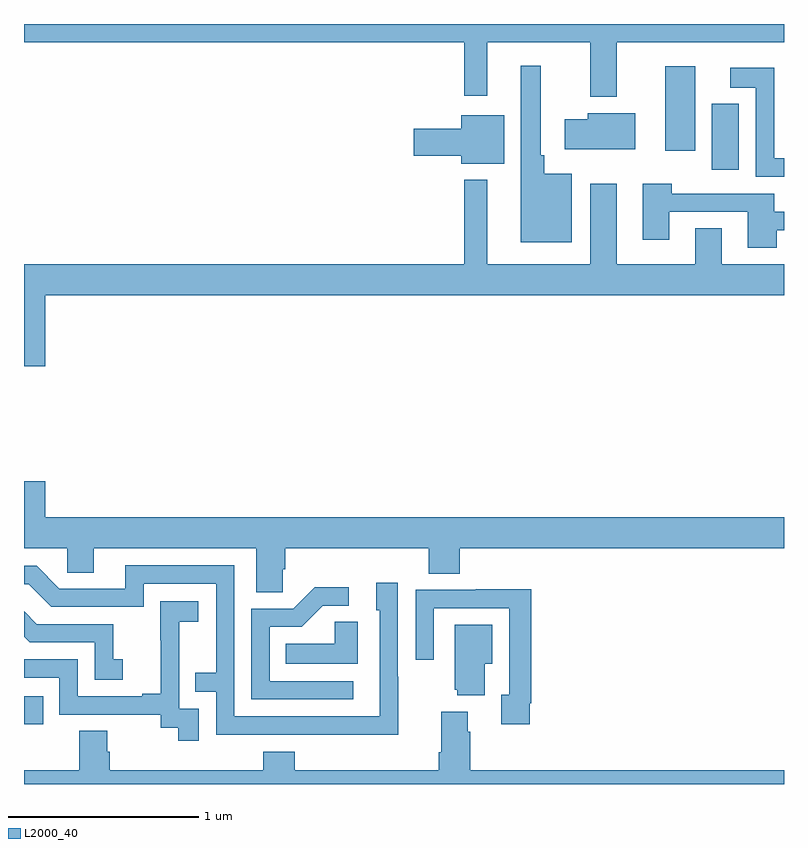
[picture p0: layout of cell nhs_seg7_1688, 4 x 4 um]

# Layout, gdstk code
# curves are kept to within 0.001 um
import gdstk
lib = gdstk.Library(unit=1e-6, precision=1e-09)
def R(c, l, rs):  # rectangles x0, y0, x1, y1
    for r in rs: c.add(gdstk.rectangle(r[:2], r[2:], *l))
def P(c, l, *ps):  # polygons
    for p in ps: c.add(gdstk.Polygon(p, *l))
L2000_40 = (2000, 40)

nhs_seg7_1688 = lib.new_cell('nhs_seg7_1688')
R(nhs_seg7_1688, L2000_40, [(225,1042.314,225.101,1042.461), (228.62,1045.233,228.763,1045.579), (228.374,1045.332,228.532,1045.777)])
P(nhs_seg7_1688, L2000_40, [(228.121,1045.904),(229,1045.904),(229,1046),(225,1046),(225,1045.904),(227.316,1045.904),(227.316,1045.623),(227.437,1045.623),(227.437,1045.904),(227.981,1045.904),(227.981,1045.616),(228.121,1045.616)],
  [(227.884,1045.213),(227.737,1045.213),(227.737,1045.309),(227.719,1045.309),(227.719,1045.78),(227.615,1045.78),(227.615,1044.851),(227.884,1044.851)],
  [(229,1045.293),(228.948,1045.293),(228.948,1045.771),(228.717,1045.771),(228.717,1045.664),(228.852,1045.664),(228.852,1045.197),(229,1045.197)],
  [(228.217,1045.531),(227.966,1045.531),(227.966,1045.498),(227.847,1045.498),(227.847,1045.34),(228.217,1045.34)],
  [(227.527,1045.519),(227.3,1045.519),(227.3,1045.449),(227.052,1045.449),(227.052,1045.307),(227.3,1045.307),(227.3,1045.265),(227.527,1045.265)],
  [(229,1044.736),(228.673,1044.736),(228.673,1044.926),(228.533,1044.926),(228.533,1044.736),(228.121,1044.736),(228.121,1045.159),(227.981,1045.159),(227.981,1044.736),(227.437,1044.736),(227.437,1045.18),(227.316,1045.18),(227.316,1044.736),(225,1044.736),(225,1044.198),(225.112,1044.198),(225.112,1044.572),(229,1044.572)],
  [(228.962,1044.914),(229,1044.914),(229,1045.011),(228.949,1045.011),(228.949,1045.107),(228.41,1045.107),(228.41,1045.159),(228.257,1045.159),(228.257,1044.864),(228.397,1044.864),(228.397,1045.011),(228.809,1045.011),(228.809,1044.822),(228.962,1044.822)],
  [(226.362,1043.131),(226.376,1043.131),(226.376,1043.24),(227.129,1043.24),(227.129,1043.107),(227.294,1043.107),(227.294,1043.24),(229,1043.24),(229,1043.404),(225.112,1043.404),(225.112,1043.593),(225,1043.593),(225,1043.24),(225.228,1043.24),(225.228,1043.113),(225.367,1043.113),(225.367,1043.24),(226.223,1043.24),(226.223,1043.008),(226.362,1043.008)],
  [(226.971,1042.565),(226.968,1042.565),(226.968,1043.059),(226.853,1043.059),(226.853,1042.914),(226.872,1042.914),(226.872,1042.356),(226.107,1042.356),(226.107,1043.151),(225.533,1043.151),(225.533,1043.028),(225.186,1043.028),(225.066,1043.148),(225,1043.148),(225,1043.052),(225.024,1043.052),(225.144,1042.932),(225.63,1042.932),(225.63,1043.055),(226.011,1043.055),(226.011,1042.586),(225.901,1042.586),(225.901,1042.485),(226.011,1042.485),(226.011,1042.26),(226.971,1042.259)],
  [(226.732,1042.542),(226.293,1042.542),(226.293,1042.827),(226.462,1042.827),(226.573,1042.938),(226.708,1042.938),(226.708,1043.036),(226.529,1043.036),(226.416,1042.923),(226.197,1042.923),(226.197,1042.446),(226.732,1042.446)],
  [(227.662,1042.426),(227.669,1042.426),(227.669,1043.024),(227.377,1043.024),(227.377,1043.022),(227.061,1043.022),(227.061,1042.653),(227.157,1042.653),(227.157,1042.926),(227.553,1042.926),(227.553,1042.47),(227.513,1042.47),(227.513,1042.314),(227.662,1042.314)],
  [(225.921,1042.395),(225.816,1042.395),(225.816,1042.625),(225.818,1042.625),(225.818,1042.853),(225.916,1042.853),(225.916,1042.963),(225.718,1042.963),(225.718,1042.757),(225.719,1042.757),(225.719,1042.474),(225.623,1042.474),(225.623,1042.461),(225.282,1042.461),(225.282,1042.656),(225,1042.656),(225,1042.56),(225.186,1042.56),(225.186,1042.365),(225.72,1042.365),(225.72,1042.297),(225.813,1042.297),(225.813,1042.227),(225.921,1042.227)],
  [(225.52,1042.657),(225.471,1042.657),(225.471,1042.842),(225.067,1042.842),(225,1042.909),(225,1042.776),(225.03,1042.746),(225.372,1042.746),(225.372,1042.548),(225.52,1042.548)],
  [(226.756,1042.853),(226.635,1042.853),(226.635,1042.738),(226.378,1042.738),(226.378,1042.634),(226.756,1042.634)],
  [(227.425,1042.634),(227.464,1042.634),(227.464,1042.837),(227.267,1042.837),(227.267,1042.497),(227.279,1042.497),(227.279,1042.466),(227.425,1042.466)],
  [(227.348,1042.274),(227.335,1042.274),(227.335,1042.381),(227.195,1042.381),(227.195,1042.168),(227.183,1042.168),(227.183,1042.072),(226.424,1042.072),(226.424,1042.171),(226.259,1042.171),(226.259,1042.072),(225.452,1042.072),(225.452,1042.17),(225.439,1042.17),(225.439,1042.28),(225.292,1042.28),(225.292,1042.072),(225,1042.072),(225,1042),(229,1042),(229,1042.072),(227.348,1042.072)])

lib.write_gds('nhs_seg7_1688.gds')
